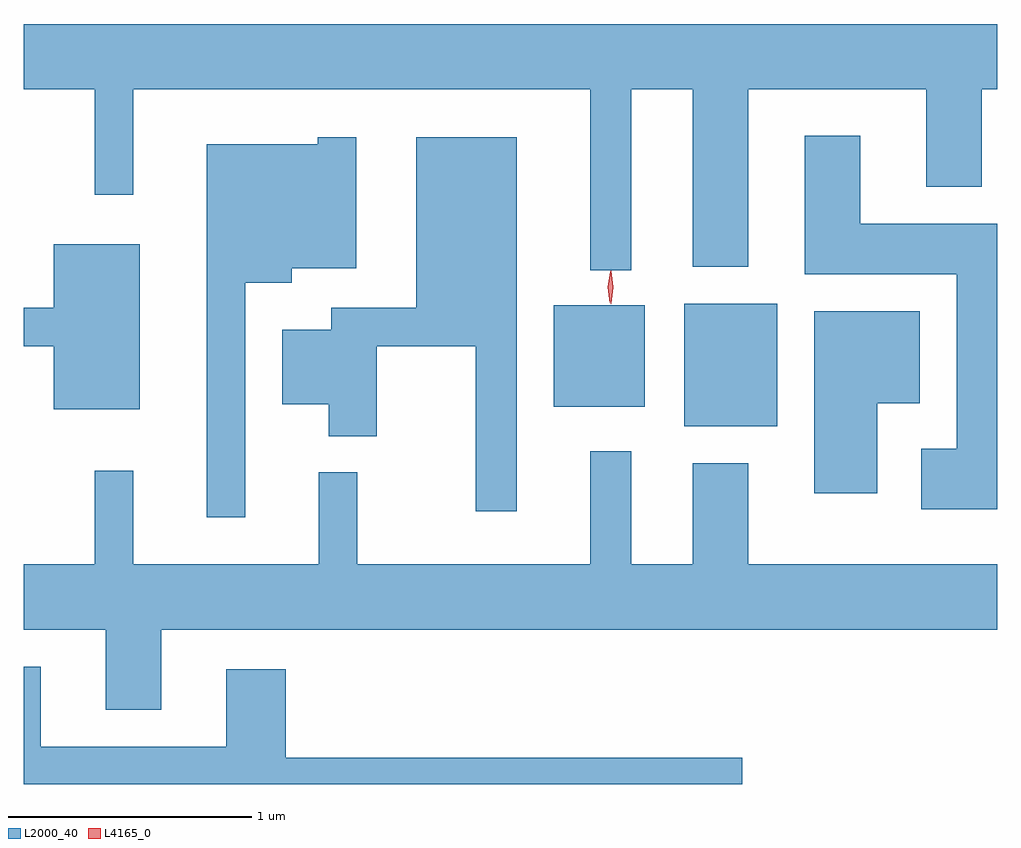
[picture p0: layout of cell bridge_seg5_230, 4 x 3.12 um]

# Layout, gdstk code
import gdstk
lib = gdstk.Library(unit=1e-6, precision=1e-09)
def R(c, l, rs):  # rectangles x0, y0, x1, y1
    for r in rs: c.add(gdstk.rectangle(r[:2], r[2:], *l))
def P(c, l, *ps):  # polygons
    for p in ps: c.add(gdstk.Polygon(p, *l))
L2000_40 = (2000, 40)
L4165_0 = (4165, 0)

bridge_seg5_230 = lib.new_cell('bridge_seg5_230')
R(bridge_seg5_230, L2000_40, [(1258.686,1402.131,1259.069,1402.634), (1258.151,1402.211,1258.524,1402.629)])
P(bridge_seg5_230, L2000_40, [(1258.469,1403.516),(1258.721,1403.516),(1258.721,1402.786),(1258.949,1402.786),(1258.949,1403.516),(1259.681,1403.516),(1259.681,1403.116),(1259.909,1403.116),(1259.909,1403.516),(1259.973,1403.516),(1259.973,1403.784),(1255.973,1403.784),(1255.973,1403.516),(1256.266,1403.516),(1256.266,1403.083),(1256.424,1403.083),(1256.424,1403.516),(1258.301,1403.516),(1258.301,1402.773),(1258.469,1402.773)],
  [(1259.973,1402.964),(1259.409,1402.964),(1259.409,1403.324),(1259.181,1403.324),(1259.181,1402.756),(1259.806,1402.756),(1259.806,1402.039),(1259.661,1402.039),(1259.661,1401.791),(1259.973,1401.791)],
  [(1256.884,1402.721),(1257.074,1402.721),(1257.074,1402.781),(1257.339,1402.781),(1257.339,1403.319),(1257.181,1403.319),(1257.181,1403.289),(1256.726,1403.289),(1256.726,1401.758),(1256.884,1401.758)],
  [(1257.999,1403.319),(1257.586,1403.319),(1257.586,1402.619),(1257.236,1402.619),(1257.236,1402.529),(1257.036,1402.529),(1257.036,1402.221),(1257.226,1402.221),(1257.226,1402.091),(1257.424,1402.091),(1257.424,1402.461),(1257.831,1402.461),(1257.831,1401.783),(1257.999,1401.783)],
  [(1256.449,1402.879),(1256.096,1402.879),(1256.096,1402.619),(1255.973,1402.619),(1255.973,1402.461),(1256.096,1402.461),(1256.096,1402.201),(1256.449,1402.201)],
  [(1259.479,1402.226),(1259.654,1402.226),(1259.654,1402.604),(1259.221,1402.604),(1259.221,1401.856),(1259.479,1401.856)],
  [(1256.539,1401.296),(1259.973,1401.296),(1259.973,1401.564),(1258.949,1401.564),(1258.949,1401.979),(1258.721,1401.979),(1258.721,1401.564),(1258.469,1401.564),(1258.469,1402.028),(1258.301,1402.028),(1258.301,1401.564),(1257.344,1401.564),(1257.344,1401.943),(1257.186,1401.943),(1257.186,1401.564),(1256.424,1401.564),(1256.424,1401.948),(1256.266,1401.948),(1256.266,1401.564),(1255.973,1401.564),(1255.973,1401.296),(1256.311,1401.296),(1256.311,1400.966),(1256.539,1400.966)],
  [(1258.924,1400.769),(1257.049,1400.769),(1257.049,1401.134),(1256.806,1401.134),(1256.806,1400.814),(1256.044,1400.814),(1256.044,1401.143),(1255.973,1401.143),(1255.973,1400.662),(1258.924,1400.662)])
P(bridge_seg5_230, L4165_0, [(1258.38,1402.638),(1258.38,1402.639),(1258.372,1402.703),(1258.383,1402.766),(1258.383,1402.767),(1258.384,1402.766),(1258.392,1402.702),(1258.381,1402.639)],
  [(1258.385,1402.634),(1258.376,1402.702),(1258.385,1402.77),(1258.386,1402.77),(1258.386,1402.77),(1258.396,1402.702),(1258.386,1402.634),(1258.386,1402.634)])

lib.write_gds('bridge_seg5_230.gds')
